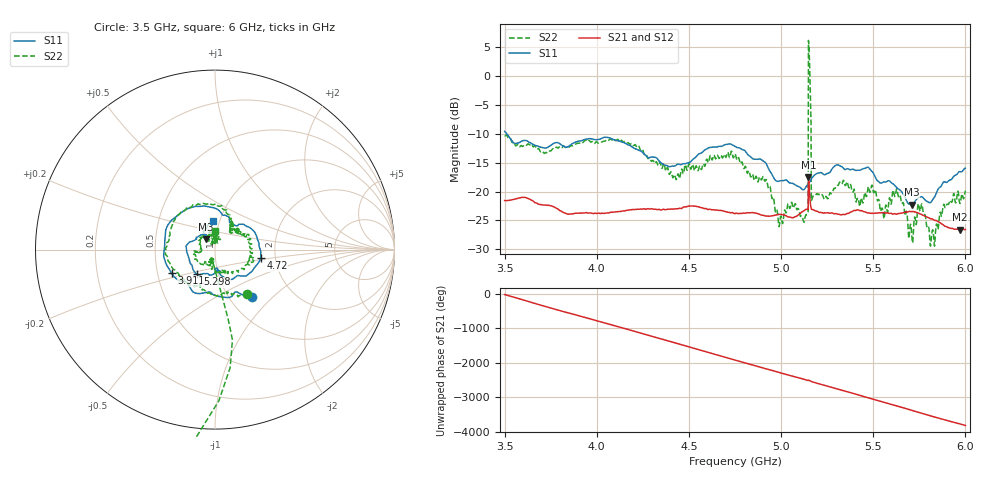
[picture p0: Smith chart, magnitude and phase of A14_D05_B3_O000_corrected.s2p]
! Created with skrf 1.9.0 (http://scikit-rf.org).
# Hz S RI R 50.0
!freq ReS11 ImS11 ReS21 ImS21 ReS12 ImS12 ReS22 ImS22
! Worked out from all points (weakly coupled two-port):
!   1601 points, 3.5 GHz to 6 GHz, reference 50 ohm
!   highest |S21| = -17.48 dB at 5.148 GHz (marker M1); lowest = -26.6 dB at 5.97 GHz (marker M2)
!   lowest |S11| = -22.3 dB at 5.709 GHz (marker M3), VSWR 1.17, Z = 44.9 + j5.25 ohm
!   |S11| at or under -10 dB: 3.513 GHz to end of sweep
!   |S22| runs from -29.5 to 6.2 dB; largest |S21 - S12| = 0.00098
!   S11 on the Smith chart (normalised r, x): 3.5 GHz: 1.27, -0.75; 3.911 GHz: 0.59, -0.17; 4.72 GHz: 1.67, -0.17; 5.298 GHz: 0.79, -0.22; 6 GHz: 0.93, +0.30
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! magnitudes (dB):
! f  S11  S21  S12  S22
! 3.5 GHz  -9.5  -21.6  -21.5  -10.3
! 3.911 GHz  -11.2  -23.7  -23.7  -11.5
! 3.917 GHz  -11.2  -23.7  -23.7  -11.4
! 4.334 GHz  -14.5  -23.1  -23.1  -15.5
! 4.72 GHz  -11.7  -23.6  -23.6  -14.1
! 4.75 GHz  -12.2  -23.8  -23.7  -13.5
! 4.912 GHz  -14.9  -24.2  -24.2  -18.2
! 4.997 GHz  -18.1  -23.9  -23.9  -24.4
! 5.119 GHz  -19.7  -23.4  -23.4  -24.8
! 5.134 GHz  -19.2  -23.1  -23.1  -24.0
! 5.148 GHz  -18.6  -17.5  -17.5  6.2
! 5.161 GHz  -18.1  -22.6  -22.5  -5.8
! 5.167 GHz  -17.7  -23.1  -23.1  -21.4
! 5.177 GHz  -17.3  -23.2  -23.1  -20.7
! 5.298 GHz  -15.4  -23.8  -23.8  -19.0
! 5.584 GHz  -18.1  -23.8  -23.7  -21.7
! 5.636 GHz  -19.5  -23.8  -23.8  -20.8
! 5.709 GHz  -22.3  -23.5  -23.4  -27.6
! 5.755 GHz  -21.0  -23.9  -23.8  -23.4
! 5.822 GHz  -21.4  -24.8  -24.7  -26.6
! 5.97 GHz  -16.5  -26.6  -26.6  -22.1
! 6 GHz  -16.0  -26.6  -26.5  -19.8
